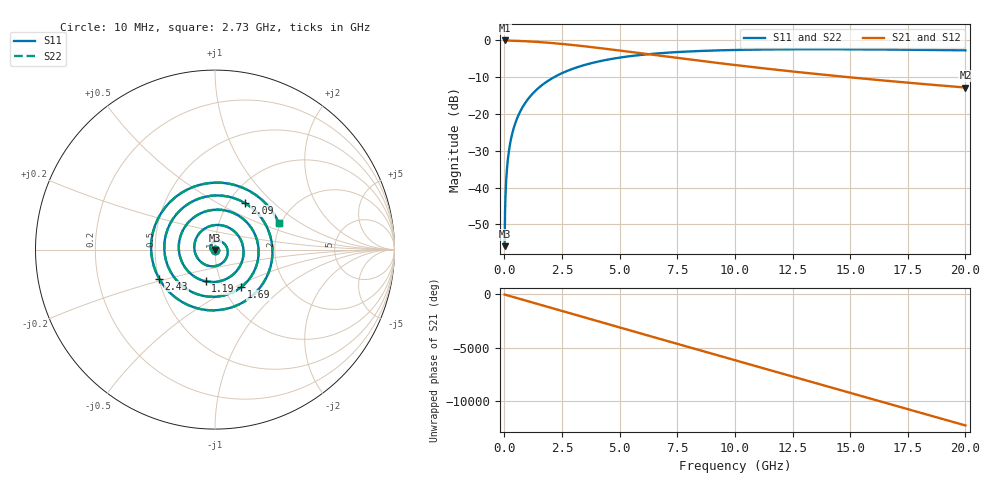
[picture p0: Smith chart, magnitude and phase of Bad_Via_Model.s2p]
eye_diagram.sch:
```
<Qucs Schematic 0.0.19>
<Properties>
  <View=-34,71,571,511,1.85165,0,0>
  <Grid=10,10,1>
  <DataSet=eye_diagram.dat>
  <DataDisplay=eye_diagram.dpl>
  <OpenDisplay=1>
  <Script=eye_diagram.m>
  <RunScript=0>
  <showFrame=0>
  <FrameText0=Title>
  <FrameText1=Drawn By:>
  <FrameText2=Date:>
  <FrameText3=Revision:>
</Properties>
<Symbol>
</Symbol>
<Components>
  <SPfile X1 1 180 150 -26 -59 0 0 "C:/Users/vsap7/code/rf-sim/Bad_Via_Model.s2p" 1 "rectangular" 0 "linear" 0 "open" 0 "2" 0>
  <Vpulse V1 1 20 170 18 -26 0 1 "0 V" 1 "0.9 V" 1 "0" 1 "62.5 ps" 1 "1 ns" 0 "1 ns" 0>
  <Vac V2 1 80 170 18 -26 0 1 "22.5mv" 1 "3210KHz" 0 "0" 0 "0" 0>
  <GND * 1 20 200 0 0 0 0>
  <GND * 1 80 200 0 0 0 0>
  <GND * 1 150 290 0 0 0 0>
  <GND * 1 180 180 0 0 0 0>
  <GND * 1 370 150 0 0 0 0>
  <R R1 1 150 220 15 -26 0 1 "85 Ohm" 1 "26.85" 0 "0.0" 0 "0.0" 0 "26.85" 0 "US" 0>
  <R R2 1 340 150 -26 15 0 0 "85 Ohm" 1 "26.85" 0 "0.0" 0 "0.0" 0 "26.85" 0 "US" 0>
  <.TR TR1 1 0 330 0 64 0 0 "lin" 1 "0" 1 "10 us" 1 "100000" 0 "Trapezoidal" 0 "2" 0 "1 ns" 0 "1e-16" 0 "150" 0 "0.001" 0 "1 pA" 0 "1 uV" 0 "26.85" 0 "1e-3" 0 "1e-6" 0 "1" 0 "CroutLU" 0 "no" 0 "yes" 0 "0" 0>
</Components>
<Wires>
  <150 140 150 150 "" 0 0 0 "">
  <80 140 150 140 "" 0 0 0 "">
  <20 140 80 140 "" 0 0 0 "">
  <150 150 150 190 "" 0 0 0 "">
  <150 250 150 290 "" 0 0 0 "">
  <210 150 310 150 "RX_eye" 280 120 40 "">
</Wires>
<Diagrams>
</Diagrams>
<Paintings>
</Paintings>
```
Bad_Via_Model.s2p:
! Validation Capstone Generated Data
! Freq: 10MHz - 20GHz, 10 inch trace, 0.6pF Via Cap
# Hz S RI R 85.0
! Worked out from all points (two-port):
!   2000 points, 10 MHz to 20 GHz, reference 85 ohm
!   highest |S21| = 0.00 dB at 10 MHz (marker M1); lowest = -12.8 dB at 20 GHz (marker M2)
!   |S21| within 3 dB of the highest: start of sweep to 5.325 GHz
!   lowest |S11| = -55.9 dB at 10 MHz (marker M3), VSWR 1.00, Z = 85 - j0.27 ohm
!   |S11| at or under -10 dB: start of sweep to 2.152 GHz
!   |S22| runs from -55.9 to -2.4 dB; largest |S21 - S12| = 0
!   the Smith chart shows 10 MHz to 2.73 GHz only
!   S11 on the Smith chart (normalised r, x): 10 MHz: 1.00, -0.00; 1.19 GHz: 0.85, -0.31; 1.69 GHz: 1.21, -0.54; 2.09 GHz: 1.19, +0.68; 2.43 GHz: 0.50, -0.18; 2.73 GHz: 1.96, +0.67
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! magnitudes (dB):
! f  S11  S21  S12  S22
! 10 MHz  -55.9  0.0  0.0  -55.9
! 150 MHz  -32.4  0.0  0.0  -32.4
! 310 MHz  -26.1  -0.1  -0.1  -26.1
! 650 MHz  -19.8  -0.1  -0.1  -19.8
! 1.19 GHz  -14.7  -0.3  -0.3  -14.7
! 1.69 GHz  -11.9  -0.5  -0.5  -11.9
! 2.09 GHz  -10.2  -0.7  -0.7  -10.2
! 2.43 GHz  -9.1  -0.9  -0.9  -9.1
! 2.73 GHz  -8.3  -1.1  -1.1  -8.3
! 10.01 GHz  -2.6  -6.7  -6.7  -2.6
! 20 GHz  -2.7  -12.8  -12.8  -2.7
